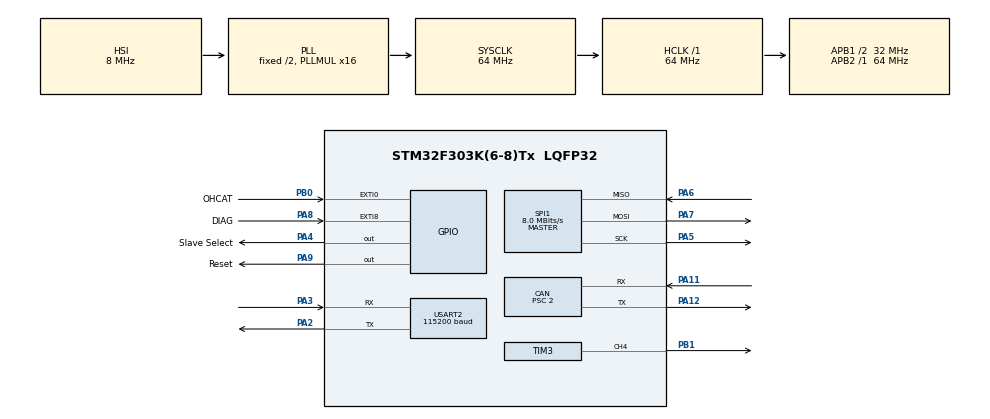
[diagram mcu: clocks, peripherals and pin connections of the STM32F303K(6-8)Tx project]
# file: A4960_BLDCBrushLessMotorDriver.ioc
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CAN.BS1=CAN_BS1_13TQ
CAN.BS2=CAN_BS2_2TQ
CAN.CalculateBaudRate=1000000
CAN.CalculateTimeBit=1000
CAN.CalculateTimeQuantum=62.5
CAN.Prescaler=2
FREERTOS.INCLUDE_vTaskDelayUntil=1
FREERTOS.Tasks01=BLDCTask,0,128,StartBLDCTask,Default,NULL,Dynamic,NULL,NULL
FREERTOS.configUSE_NEWLIB_REENTRANT=1
Mcu.Family=STM32F3
Mcu.Name=STM32F303K(6-8)Tx
Mcu.Package=LQFP32
NVIC.EXTI0_IRQn=true\:5\:0\:false\:false\:true\:false\:true\:true
NVIC.EXTI9_5_IRQn=true\:5\:0\:false\:false\:true\:false\:true\:true
NVIC.PriorityGroup=NVIC_PRIORITYGROUP_4
NVIC.TIM1_TRG_COM_TIM17_IRQn=true\:15\:0\:false\:false\:true\:false\:false\:true
NVIC.TimeBase=TIM1_TRG_COM_TIM17_IRQn
NVIC.TimeBaseIP=TIM17
PA11.Mode=CAN_Activate
PA11.Signal=CAN_RX
PA12.Mode=CAN_Activate
PA12.Signal=CAN_TX
PA13.Mode=JTAG_5_pins
PA13.Signal=SYS_JTMS-SWDIO
PA14.Mode=JTAG_5_pins
PA14.Signal=SYS_JTCK-SWCLK
PA15.Mode=JTAG_5_pins
PA15.Signal=SYS_JTDI
PA2.Mode=Asynchronous
PA2.Signal=USART2_TX
PA3.Mode=Asynchronous
PA3.Signal=USART2_RX
PA4.GPIO_Label=Slave Select
PA4.Signal=GPIO_Output
PA5.Mode=Full_Duplex_Master
PA5.Signal=SPI1_SCK
PA6.Mode=Full_Duplex_Master
PA6.Signal=SPI1_MISO
PA7.Mode=Full_Duplex_Master
PA7.Signal=SPI1_MOSI
PA8.GPIO_Label=DIAG
PA8.GPIO_ModeDefaultEXTI=GPIO_MODE_IT_RISING
PA8.Signal=GPXTI8
PA9.GPIO_Label=Reset
PA9.Signal=GPIO_Output
PB0.GPIO_Label=OHCAT
PB0.GPIO_ModeDefaultEXTI=GPIO_MODE_IT_RISING
PB0.Signal=GPXTI0
PB1.Signal=S_TIM3_CH4
PB3.Mode=JTAG_5_pins
PB3.Signal=SYS_JTDO-TRACESWO
PB4.Mode=JTAG_5_pins
PB4.Signal=SYS_NJTRST
ProjectManager.HeapSize=0x200
ProjectManager.StackSize=0x400
ProjectManager.TargetToolchain=STM32CubeIDE
RCC.AHBFreq_Value=64000000
RCC.APB1CLKDivider=RCC_HCLK_DIV2
RCC.APB1Freq_Value=32000000
RCC.APB1TimFreq_Value=64000000
RCC.APB2Freq_Value=64000000
RCC.APB2TimFreq_Value=64000000
RCC.CortexFreq_Value=64000000
RCC.HCLKFreq_Value=64000000
RCC.HSE_VALUE=8000000
RCC.HSI_VALUE=8000000
RCC.PLLMUL=RCC_PLL_MUL16
RCC.SYSCLKFreq_VALUE=64000000
RCC.SYSCLKSourceVirtual=RCC_SYSCLKSOURCE_PLLCLK
SH.S_TIM3_CH4.0=TIM3_CH4,PWM Generation4 CH4
SPI1.BaudRatePrescaler=SPI_BAUDRATEPRESCALER_8
SPI1.CalculateBaudRate=8.0 MBits/s
SPI1.DataSize=SPI_DATASIZE_8BIT
SPI1.Direction=SPI_DIRECTION_2LINES
SPI1.Mode=SPI_MODE_MASTER
SPI1.VirtualType=VM_MASTER
TIM3.Channel-PWM\ Generation4\ CH4=TIM_CHANNEL_4
TIM3.Period=1000
USART2.BaudRate=115200
USART2.VirtualMode-Asynchronous=VM_ASYNC
VP_FREERTOS_VS_CMSIS_V1.Mode=CMSIS_V1
VP_SYS_VS_tim17.Mode=TIM17
board=custom

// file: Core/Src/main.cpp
/* USER CODE BEGIN Header */
/**
 ******************************************************************************
 * @file           : main.c
 * @brief          : Main program body
 ******************************************************************************
 * @attention
 *
 * Copyright (c) 2022 STMicroelectronics.
 * All rights reserved.
 *
 * This software is licensed under terms that can be found in the LICENSE file
 * in the root directory of this software component.
 * If no LICENSE file comes with this software, it is provided AS-IS.
 *
 ******************************************************************************
 */
/* USER CODE END Header */
#include "main.h"
#include "cmsis_os.h"

/* USER CODE BEGIN Includes */
#include "math.h"
#include "CAN_Filter_Helper.hpp"
#include "A4960_Helper.hpp"
/* USER CODE END Includes */

CAN_HandleTypeDef hcan;

SPI_HandleTypeDef hspi1;

TIM_HandleTypeDef htim3;

UART_HandleTypeDef huart2;

osThreadId BLDCTaskHandle;

void SystemClock_Config(void);
static void MX_GPIO_Init(void);
static void MX_SPI1_Init(void);
static void MX_TIM3_Init(void);
static void MX_USART2_UART_Init(void);
static void MX_CAN_Init(void);
void StartBLDCTask(void const *argument);

/* USER CODE BEGIN 0 */

A4960_Helper A4960(&hspi1, GPIOA, GPIO_PIN_4, &htim3, TIM_CHANNEL_4);

volatile uint32_t tacho_count = 0;
volatile uint32_t diag_count = 0;
volatile uint8_t BLDC_DIR_CW = 1;

//shun defined user EXTI callback.
//override __weak HAL_GPIO_EXTI_Callback in stm32fxx_it.c
void HAL_GPIO_EXTI_Callback(uint16_t GPIO_Pin) {
	//TACHO Pin
	if (GPIO_Pin == GPIO_PIN_0) {
		tacho_count++;
	}

	//DIAG Pin
	if (GPIO_Pin == GPIO_PIN_8) {
		diag_count++;
	}
}
/* USER CODE END 0 */

int main(void) {

	/* MCU Configuration--------------------------------------------------------*/

	/* Reset of all peripherals, Initializes the Flash interface and the Systick. */
	HAL_Init();

	/* Configure the system clock */
	SystemClock_Config();

	/* Initialize all configured peripherals */
	MX_GPIO_Init();
	MX_SPI1_Init();
	MX_TIM3_Init();
	MX_USART2_UART_Init();
	MX_CAN_Init();

	/* Create the thread(s) */
	/* definition and creation of BLDCTask */
	osThreadDef(BLDCTask, StartBLDCTask, osPriorityNormal, 0, 128);
	BLDCTaskHandle = osThreadCreate(osThread(BLDCTask), NULL);

	/* Start scheduler */
	osKernelStart();

	/* We should never get here as control is now taken by the scheduler */
	/* Infinite loop */
	while (1) {

	}
}

void SystemClock_Config(void) {
	RCC_OscInitTypeDef RCC_OscInitStruct = { 0 };
	RCC_ClkInitTypeDef RCC_ClkInitStruct = { 0 };

	/** Initializes the RCC Oscillators according to the specified parameters
	 * in the RCC_OscInitTypeDef structure.
	 */
	RCC_OscInitStruct.OscillatorType = RCC_OSCILLATORTYPE_HSI;
	RCC_OscInitStruct.HSIState = RCC_HSI_ON;
	RCC_OscInitStruct.HSICalibrationValue = RCC_HSICALIBRATION_DEFAULT;
	RCC_OscInitStruct.PLL.PLLState = RCC_PLL_ON;
	RCC_OscInitStruct.PLL.PLLSource = RCC_PLLSOURCE_HSI;
	RCC_OscInitStruct.PLL.PLLMUL = RCC_PLL_MUL16;
	if (HAL_RCC_OscConfig(&RCC_OscInitStruct) != HAL_OK) {
		Error_Handler();
	}
	/** Initializes the CPU, AHB and APB buses clocks
	 */
	RCC_ClkInitStruct.ClockType = RCC_CLOCKTYPE_HCLK | RCC_CLOCKTYPE_SYSCLK
			| RCC_CLOCKTYPE_PCLK1 | RCC_CLOCKTYPE_PCLK2;
	RCC_ClkInitStruct.SYSCLKSource = RCC_SYSCLKSOURCE_PLLCLK;
	RCC_ClkInitStruct.AHBCLKDivider = RCC_SYSCLK_DIV1;
	RCC_ClkInitStruct.APB1CLKDivider = RCC_HCLK_DIV2;
	RCC_ClkInitStruct.APB2CLKDivider = RCC_HCLK_DIV1;

	if (HAL_RCC_ClockConfig(&RCC_ClkInitStruct, FLASH_LATENCY_2) != HAL_OK) {
		Error_Handler();
	}
}

static void MX_CAN_Init(void) {

	hcan.Instance = CAN;
	hcan.Init.Prescaler = 2;
	hcan.Init.Mode = CAN_MODE_NORMAL;
	hcan.Init.SyncJumpWidth = CAN_SJW_1TQ;
	hcan.Init.TimeSeg1 = CAN_BS1_13TQ;
	hcan.Init.TimeSeg2 = CAN_BS2_2TQ;
	hcan.Init.TimeTriggeredMode = DISABLE;
	hcan.Init.AutoBusOff = DISABLE;
	hcan.Init.AutoWakeUp = DISABLE;
	hcan.Init.AutoRetransmission = DISABLE;
	hcan.Init.ReceiveFifoLocked = DISABLE;
	hcan.Init.TransmitFifoPriority = DISABLE;
	if (HAL_CAN_Init(&hcan) != HAL_OK) {
		Error_Handler();
	}

}

static void MX_SPI1_Init(void) {

	/* SPI1 parameter configuration*/
	hspi1.Instance = SPI1;
	hspi1.Init.Mode = SPI_MODE_MASTER;
	hspi1.Init.Direction = SPI_DIRECTION_2LINES;
	hspi1.Init.DataSize = SPI_DATASIZE_8BIT;
	hspi1.Init.CLKPolarity = SPI_POLARITY_LOW;
	hspi1.Init.CLKPhase = SPI_PHASE_1EDGE;
	hspi1.Init.NSS = SPI_NSS_SOFT;
	hspi1.Init.BaudRatePrescaler = SPI_BAUDRATEPRESCALER_8;
	hspi1.Init.FirstBit = SPI_FIRSTBIT_MSB;
	hspi1.Init.TIMode = SPI_TIMODE_DISABLE;
	hspi1.Init.CRCCalculation = SPI_CRCCALCULATION_DISABLE;
	hspi1.Init.CRCPolynomial = 7;
	hspi1.Init.CRCLength = SPI_CRC_LENGTH_DATASIZE;
	hspi1.Init.NSSPMode = SPI_NSS_PULSE_ENABLE;
	if (HAL_SPI_Init(&hspi1) != HAL_OK) {
		Error_Handler();
	}

}

static void MX_TIM3_Init(void) {

	TIM_MasterConfigTypeDef sMasterConfig = { 0 };
	TIM_OC_InitTypeDef sConfigOC = { 0 };

	htim3.Instance = TIM3;
	htim3.Init.Prescaler = 0;
	htim3.Init.CounterMode = TIM_COUNTERMODE_UP;
	htim3.Init.Period = 1000;
	htim3.Init.ClockDivision = TIM_CLOCKDIVISION_DIV1;
	htim3.Init.AutoReloadPreload = TIM_AUTORELOAD_PRELOAD_DISABLE;
	if (HAL_TIM_PWM_Init(&htim3) != HAL_OK) {
		Error_Handler();
	}
	sMasterConfig.MasterOutputTrigger = TIM_TRGO_RESET;
	sMasterConfig.MasterSlaveMode = TIM_MASTERSLAVEMODE_DISABLE;
	if (HAL_TIMEx_MasterConfigSynchronization(&htim3, &sMasterConfig)
			!= HAL_OK) {
		Error_Handler();
	}
	sConfigOC.OCMode = TIM_OCMODE_PWM1;
	sConfigOC.Pulse = 0;
	sConfigOC.OCPolarity = TIM_OCPOLARITY_HIGH;
	sConfigOC.OCFastMode = TIM_OCFAST_DISABLE;
	if (HAL_TIM_PWM_ConfigChannel(&htim3, &sConfigOC, TIM_CHANNEL_4)
			!= HAL_OK) {
		Error_Handler();
	}
	HAL_TIM_MspPostInit(&htim3);

}

static void MX_USART2_UART_Init(void) {

	huart2.Instance = USART2;
	huart2.Init.BaudRate = 115200;
	huart2.Init.WordLength = UART_WORDLENGTH_8B;
	huart2.Init.StopBits = UART_STOPBITS_1;
	huart2.Init.Parity = UART_PARITY_NONE;
	huart2.Init.Mode = UART_MODE_TX_RX;
	huart2.Init.HwFlowCtl = UART_HWCONTROL_NONE;
	huart2.Init.OverSampling = UART_OVERSAMPLING_16;
	huart2.Init.OneBitSampling = UART_ONE_BIT_SAMPLE_DISABLE;
	huart2.AdvancedInit.AdvFeatureInit = UART_ADVFEATURE_NO_INIT;
	if (HAL_UART_Init(&huart2) != HAL_OK) {
		Error_Handler();
	}

}

static void MX_GPIO_Init(void) {
	GPIO_InitTypeDef GPIO_InitStruct = { 0 };

	/* GPIO Ports Clock Enable */
	__HAL_RCC_GPIOA_CLK_ENABLE();
	__HAL_RCC_GPIOB_CLK_ENABLE();

	/*Configure GPIO pin Output Level */
	HAL_GPIO_WritePin(GPIOA, Slave_Select_Pin | Reset_Pin, GPIO_PIN_RESET);

	/*Configure GPIO pins : Slave_Select_Pin Reset_Pin */
	GPIO_InitStruct.Pin = Slave_Select_Pin | Reset_Pin;
	GPIO_InitStruct.Mode = GPIO_MODE_OUTPUT_PP;
	GPIO_InitStruct.Pull = GPIO_NOPULL;
	GPIO_InitStruct.Speed = GPIO_SPEED_FREQ_LOW;
	HAL_GPIO_Init(GPIOA, &GPIO_InitStruct);

	/*Configure GPIO pin : OHCAT_Pin */
	GPIO_InitStruct.Pin = OHCAT_Pin;
	GPIO_InitStruct.Mode = GPIO_MODE_IT_RISING;
	GPIO_InitStruct.Pull = GPIO_NOPULL;
	HAL_GPIO_Init(OHCAT_GPIO_Port, &GPIO_InitStruct);

	/*Configure GPIO pin : DIAG_Pin */
	GPIO_InitStruct.Pin = DIAG_Pin;
	GPIO_InitStruct.Mode = GPIO_MODE_IT_RISING;
	GPIO_InitStruct.Pull = GPIO_NOPULL;
	HAL_GPIO_Init(DIAG_GPIO_Port, &GPIO_InitStruct);

	/* EXTI interrupt init*/
	HAL_NVIC_SetPriority(EXTI0_IRQn, 5, 0);
	HAL_NVIC_EnableIRQ(EXTI0_IRQn);

	HAL_NVIC_SetPriority(EXTI9_5_IRQn, 5, 0);
	HAL_NVIC_EnableIRQ(EXTI9_5_IRQn);

}

void StartBLDCTask(void const *argument) {
	/* USER CODE BEGIN 5 */
	HAL_CAN_Start(&hcan);
	CAN_Filter_Init(&hcan, 0x002, 0x000, 0x000, 0x000);
	uint32_t PreviousWakeTime = osKernelSysTick();
	A4960.init();
	HAL_GPIO_WritePin(GPIOA, GPIO_PIN_9, GPIO_PIN_SET);

	/* Infinite loop */
	for (;;) {
		CAN_RxHeaderTypeDef RxHeader;
		uint8_t RxData[8];
		uint8_t breake = 1;
		if (HAL_CAN_GetRxMessage(&hcan, CAN_RX_FIFO0, &RxHeader, RxData)
				== HAL_OK) {
			breake = 0;
		}
		if (HAL_CAN_GetRxMessage(&hcan, CAN_RX_FIFO1, &RxHeader, RxData)
				== HAL_OK) {
			breake = 0;
		}
		if (breake) {
			continue;
		}

		int16_t pwm_signed = (int16_t) ((int16_t) (RxData[6] << 8)
				| (int16_t) RxData[7]);

		A4960.run(pwm_signed);

		CAN_TxHeaderTypeDef TxHeader;
		uint32_t TxMailbox;
		uint8_t TxData[8];
		TxHeader.StdId = 0x5;
		TxHeader.RTR = CAN_RTR_DATA;
		TxHeader.IDE = CAN_ID_STD;
		TxHeader.DLC = 4;
		TxHeader.TransmitGlobalTime = DISABLE;
		TxData[0] = (tacho_count >> 24) & 0xFF;
		TxData[1] = (tacho_count >> 16) & 0xFF;
		TxData[2] = (tacho_count >> 8) & 0xFF;
		TxData[3] = (tacho_count >> 0) & 0xFF;
		HAL_CAN_AddTxMessage(&hcan, &TxHeader, TxData, &TxMailbox);

		osDelayUntil(&PreviousWakeTime, 1);
		PreviousWakeTime = osKernelSysTick();
	}
	/* USER CODE END 5 */
}

void HAL_TIM_PeriodElapsedCallback(TIM_HandleTypeDef *htim) {
	if (htim->Instance == TIM17) {
		HAL_IncTick();
	}
}

void Error_Handler(void) {
	__disable_irq();
	while (1) {
	}
}
